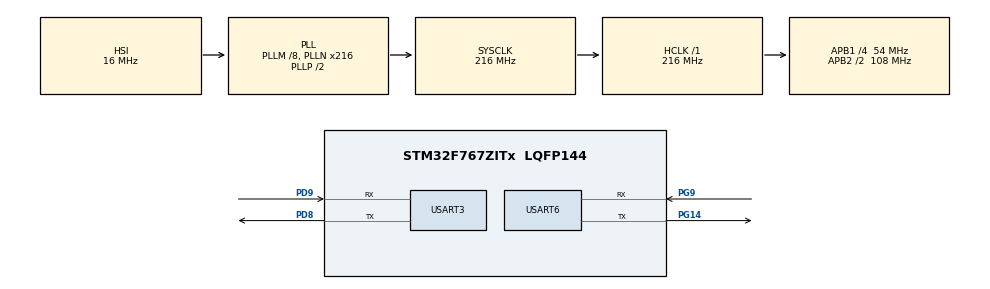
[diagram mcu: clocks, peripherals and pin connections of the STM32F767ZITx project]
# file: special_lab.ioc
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Mcu.Family=STM32F7
Mcu.Name=STM32F767ZITx
Mcu.Package=LQFP144
NVIC.PriorityGroup=NVIC_PRIORITYGROUP_4
PD5.GPIO_PuPd=GPIO_NOPULL
PD5.Signal=USART2_TX
PD6.GPIO_PuPd=GPIO_PULLUP
PD6.Signal=USART2_RX
PD8.Mode=Asynchronous
PD8.Signal=USART3_TX
PD9.Mode=Asynchronous
PD9.Signal=USART3_RX
PG14.Mode=Asynchronous
PG14.Signal=USART6_TX
PG9.Mode=Asynchronous
PG9.Signal=USART6_RX
ProjectManager.HeapSize=0x200
ProjectManager.StackSize=0x400
ProjectManager.TargetToolchain=STM32CubeIDE
RCC.AHBFreq_Value=216000000
RCC.APB1CLKDivider=RCC_HCLK_DIV4
RCC.APB1Freq_Value=54000000
RCC.APB1TimFreq_Value=108000000
RCC.APB2CLKDivider=RCC_HCLK_DIV2
RCC.APB2Freq_Value=108000000
RCC.APB2TimFreq_Value=216000000
RCC.CortexFreq_Value=216000000
RCC.HCLKFreq_Value=216000000
RCC.HSE_VALUE=25000000
RCC.HSI_VALUE=16000000
RCC.LSE_VALUE=32768
RCC.PLLM=8
RCC.PLLN=216
RCC.SYSCLKFreq_VALUE=216000000
RCC.SYSCLKSource=RCC_SYSCLKSOURCE_PLLCLK
RCC.USBFreq_Value=216000000
RCC.VCOOutputFreq_Value=432000000
USART3.VirtualMode-Asynchronous=VM_ASYNC
USART6.VirtualMode-Asynchronous=VM_ASYNC
board=custom

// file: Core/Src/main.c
/* USER CODE BEGIN Header */
/**
  ******************************************************************************
  * @file           : main.c
  * @brief          : Main program body
  ******************************************************************************
  * @attention
  *
  * Copyright (c) 2023 STMicroelectronics.
  * All rights reserved.
  *
  * This software is licensed under terms that can be found in the LICENSE file
  * in the root directory of this software component.
  * If no LICENSE file comes with this software, it is provided AS-IS.
  *
  ******************************************************************************
  */
/* USER CODE END Header */
#include "main.h"

/* USER CODE BEGIN Includes */
#include "strings.h"
/* USER CODE END Includes */

UART_HandleTypeDef huart3;
UART_HandleTypeDef huart6;

void SystemClock_Config(void);
static void MX_GPIO_Init(void);
static void MX_USART3_UART_Init(void);
static void MX_USART6_UART_Init(void);

/* USER CODE BEGIN 0 */
char sendBuff[100] = {0};
void cleverSend(UART_HandleTypeDef huart,char * tosend){
	  while(__HAL_UART_GET_FLAG(&huart,UART_FLAG_TC)==RESET){}
	  sendBuff[0] = 0;
	  strcat(sendBuff,tosend);
//	  strcat(sendBuff,"\n");
	  HAL_UART_Transmit(&huart, (uint8_t*) sendBuff, strlen(sendBuff),HAL_MAX_DELAY);
}
 void cleverReceive(UART_HandleTypeDef huart, char * buffer,int size){
	  int i = 0;
	  while(__HAL_UART_GET_FLAG(&huart,UART_FLAG_RXNE)== RESET){}
	  while(i < size){
		  HAL_UART_Receive(&huart, (uint8_t*) &buffer[i], 1, HAL_MAX_DELAY);
		  if(buffer[i] == 0 || buffer[i] == '\n' || buffer[i] == '\r'){
			  buffer[i] = 0;
			  break;
		  }
		  i++;
	  }
 }

/* USER CODE END 0 */

int main(void)
{

  /* MCU Configuration--------------------------------------------------------*/

  /* Reset of all peripherals, Initializes the Flash interface and the Systick. */
  HAL_Init();

  /* Configure the system clock */
  SystemClock_Config();

  /* Initialize all configured peripherals */
  MX_GPIO_Init();
  MX_USART3_UART_Init();
  MX_USART6_UART_Init();

  /* Infinite loop */
  /* USER CODE BEGIN WHILE */
  char nameMine[100] = {0};
  char nameYour[100] = {0};
  char initial[] = "Man from U.A.R.T.1!\nQUIT PRESS q\nName: ";
  char receive[100] = {0};
  cleverSend(huart3, initial);
  cleverReceive(huart3, nameMine, 100);
  cleverSend(huart3, nameMine);
  cleverSend(huart3, "\n");

  // start com
  char nameForYou[100] = {0};
  strcat(nameForYou,nameMine);
  strcat(nameForYou,"\n");
  cleverSend(huart6, nameForYou);
  cleverSend(huart3, "I am waiting...\n");
  cleverReceive(huart6, nameYour, 100);
  cleverSend(huart3, nameYour);
  cleverSend(huart3, " is ready\n");

  int isSender = 1;
  while (1)
  {
    /* USER CODE END WHILE */

    /* USER CODE BEGIN 3 */
	  char tosend[500] = {0};
	  if(isSender){
		  strcat(tosend,nameMine);
		  strcat(tosend," => ");
		  cleverSend(huart3, tosend);
		  cleverReceive(huart3, receive, 99);
		  cleverSend(huart3,receive);
		  cleverSend(huart3,"\n");
		  cleverSend(huart6,receive);
	  }
	  else{
//		  cleverSend(huart3, "waiting for another");
		  cleverReceive(huart6, receive, 99);

		  strcat(tosend,nameYour);
		  strcat(tosend," : ");
		  strcat(tosend,receive);
		  strcat(tosend,"\n");
		  cleverSend(huart3,tosend);
	  }
	  if(strcmp(receive,"q") == 0){
		  cleverSend(huart3,"The end\n");
		  break;
	  }
	  receive[0] = 0;
	  isSender = !isSender;
  }

//  while(1){
//	  char tosend[] = "Hello world\r\n";
//	  while(__HAL_UART_GET_FLAG(&huart3,UART_FLAG_TC)==RESET){}
//	  HAL_UART_Transmit(&huart3, (uint8_t*) tosend, strlen(tosend),1000);
//	  while(__HAL_UART_GET_FLAG(&huart6,UART_FLAG_TC)==RESET){}
//	  HAL_UART_Transmit(&huart6, (uint8_t*) tosend, strlen(tosend),1000);
//	  HAL_Delay(1000);
//  }
  /* USER CODE END 3 */
}

void SystemClock_Config(void)
{
  RCC_OscInitTypeDef RCC_OscInitStruct = {0};
  RCC_ClkInitTypeDef RCC_ClkInitStruct = {0};

  /** Configure the main internal regulator output voltage
  */
  __HAL_RCC_PWR_CLK_ENABLE();
  __HAL_PWR_VOLTAGESCALING_CONFIG(PWR_REGULATOR_VOLTAGE_SCALE1);

  /** Initializes the RCC Oscillators according to the specified parameters
  * in the RCC_OscInitTypeDef structure.
  */
  RCC_OscInitStruct.OscillatorType = RCC_OSCILLATORTYPE_HSI;
  RCC_OscInitStruct.HSIState = RCC_HSI_ON;
  RCC_OscInitStruct.HSICalibrationValue = RCC_HSICALIBRATION_DEFAULT;
  RCC_OscInitStruct.PLL.PLLState = RCC_PLL_ON;
  RCC_OscInitStruct.PLL.PLLSource = RCC_PLLSOURCE_HSI;
  RCC_OscInitStruct.PLL.PLLM = 8;
  RCC_OscInitStruct.PLL.PLLN = 216;
  RCC_OscInitStruct.PLL.PLLP = RCC_PLLP_DIV2;
  RCC_OscInitStruct.PLL.PLLQ = 2;
  RCC_OscInitStruct.PLL.PLLR = 2;
  if (HAL_RCC_OscConfig(&RCC_OscInitStruct) != HAL_OK)
  {
    Error_Handler();
  }

  /** Activate the Over-Drive mode
  */
  if (HAL_PWREx_EnableOverDrive() != HAL_OK)
  {
    Error_Handler();
  }

  /** Initializes the CPU, AHB and APB buses clocks
  */
  RCC_ClkInitStruct.ClockType = RCC_CLOCKTYPE_HCLK|RCC_CLOCKTYPE_SYSCLK
                              |RCC_CLOCKTYPE_PCLK1|RCC_CLOCKTYPE_PCLK2;
  RCC_ClkInitStruct.SYSCLKSource = RCC_SYSCLKSOURCE_PLLCLK;
  RCC_ClkInitStruct.AHBCLKDivider = RCC_SYSCLK_DIV1;
  RCC_ClkInitStruct.APB1CLKDivider = RCC_HCLK_DIV4;
  RCC_ClkInitStruct.APB2CLKDivider = RCC_HCLK_DIV2;

  if (HAL_RCC_ClockConfig(&RCC_ClkInitStruct, FLASH_LATENCY_7) != HAL_OK)
  {
    Error_Handler();
  }
}

static void MX_USART3_UART_Init(void)
{

  huart3.Instance = USART3;
  huart3.Init.BaudRate = 115200;
  huart3.Init.WordLength = UART_WORDLENGTH_8B;
  huart3.Init.StopBits = UART_STOPBITS_1;
  huart3.Init.Parity = UART_PARITY_NONE;
  huart3.Init.Mode = UART_MODE_TX_RX;
  huart3.Init.HwFlowCtl = UART_HWCONTROL_NONE;
  huart3.Init.OverSampling = UART_OVERSAMPLING_16;
  huart3.Init.OneBitSampling = UART_ONE_BIT_SAMPLE_DISABLE;
  huart3.AdvancedInit.AdvFeatureInit = UART_ADVFEATURE_NO_INIT;
  if (HAL_UART_Init(&huart3) != HAL_OK)
  {
    Error_Handler();
  }

}

static void MX_USART6_UART_Init(void)
{

  huart6.Instance = USART6;
  huart6.Init.BaudRate = 115200;
  huart6.Init.WordLength = UART_WORDLENGTH_8B;
  huart6.Init.StopBits = UART_STOPBITS_1;
  huart6.Init.Parity = UART_PARITY_NONE;
  huart6.Init.Mode = UART_MODE_TX_RX;
  huart6.Init.HwFlowCtl = UART_HWCONTROL_NONE;
  huart6.Init.OverSampling = UART_OVERSAMPLING_16;
  huart6.Init.OneBitSampling = UART_ONE_BIT_SAMPLE_DISABLE;
  huart6.AdvancedInit.AdvFeatureInit = UART_ADVFEATURE_NO_INIT;
  if (HAL_UART_Init(&huart6) != HAL_OK)
  {
    Error_Handler();
  }

}

static void MX_GPIO_Init(void)
{
  GPIO_InitTypeDef GPIO_InitStruct = {0};

  /* GPIO Ports Clock Enable */
  __HAL_RCC_GPIOD_CLK_ENABLE();
  __HAL_RCC_GPIOG_CLK_ENABLE();

  /*Configure GPIO pin : PD5 */
  GPIO_InitStruct.Pin = GPIO_PIN_5;
  GPIO_InitStruct.Mode = GPIO_MODE_AF_PP;
  GPIO_InitStruct.Pull = GPIO_NOPULL;
  GPIO_InitStruct.Speed = GPIO_SPEED_FREQ_VERY_HIGH;
  GPIO_InitStruct.Alternate = GPIO_AF7_USART2;
  HAL_GPIO_Init(GPIOD, &GPIO_InitStruct);

  /*Configure GPIO pin : PD6 */
  GPIO_InitStruct.Pin = GPIO_PIN_6;
  GPIO_InitStruct.Mode = GPIO_MODE_AF_PP;
  GPIO_InitStruct.Pull = GPIO_PULLUP;
  GPIO_InitStruct.Speed = GPIO_SPEED_FREQ_VERY_HIGH;
  GPIO_InitStruct.Alternate = GPIO_AF7_USART2;
  HAL_GPIO_Init(GPIOD, &GPIO_InitStruct);

}

void Error_Handler(void)
{
  __disable_irq();
  while (1)
  {
  }
}
